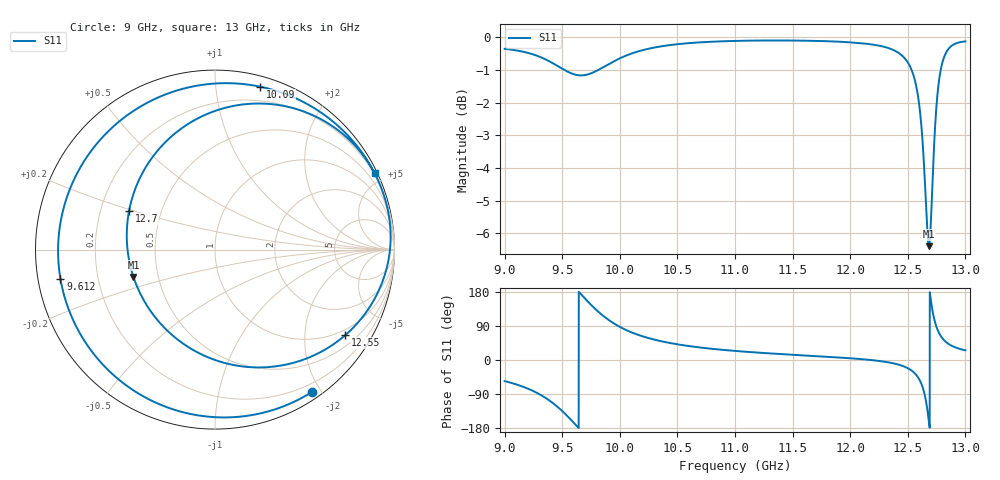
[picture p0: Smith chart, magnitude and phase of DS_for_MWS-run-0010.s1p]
! TOUCHSTONE file generated by CST DESIGN STUDIO
! Date and time: Wed Feb  5 13:21:57 2025
! Project name: C:\Work\MatlabApps\UnitCellOptimizationMatlab\CST\unitcell.cst
! Tree item: Tasks\Sweep1\SPara1\S-Parameters
! Header version: 2024
! Port assignment regex: !\s*Touchstone port\s*([0-9]+)\s*=\s*(CST MWS port|CST DES external port|CST DES block port)\s*(.+)\s* \(\"(.*)\"\)(\s*mode\s*([0-9]+))?.*
! Touchstone port assignment:
! Touchstone port 1 = CST DES external port 1 ("")
# GHz S MA R 50
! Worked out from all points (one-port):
!   4001 points, 9 GHz to 13 GHz, reference 50 ohm
!   lowest |S11| = -6.4 dB at 12.68 GHz (marker M1), VSWR 2.84, Z = 18 - j7.1 ohm
!   |S11| at or under -10 dB: nowhere
!   S11 on the Smith chart (normalised r, x): 9 GHz: 0.09, -1.89; 9.612 GHz: 0.07, -0.09; 10.09 GHz: 0.08, +1.31; 12.55 GHz: 0.81, -3.16; 12.7 GHz: 0.32, +0.19; 13 GHz: 0.16, +4.41
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9  0.9596 -55.8
9.167  0.9493 -71.4
9.319  0.9308 -93.2
9.415  0.9129 -112.7
9.5  0.8947 -134.6
9.612  0.8763 -169.4
9.701  0.8751 161.2
9.808  0.8899 128.9
10  0.928 87.5
10.089  0.942 74.6
10.271  0.9617 56.0
10.5  0.9753 41.4
11  0.9866 24.0
11.5  0.988 13.8
12  0.9817 4.6
12.317  0.9639 -5.4
12.5  0.9149 -21.6
12.554  0.8688 -33.2
12.598  0.7909 -50.3
12.636  0.6598 -78.8
12.659  0.5491 -110.2
12.683  0.4793 -161.5
12.701  0.5251 155.8
12.732  0.704 104.7
12.765  0.8414 75.2
12.803  0.918 56.3
12.849  0.9572 43.4
13  0.9849 25.5
